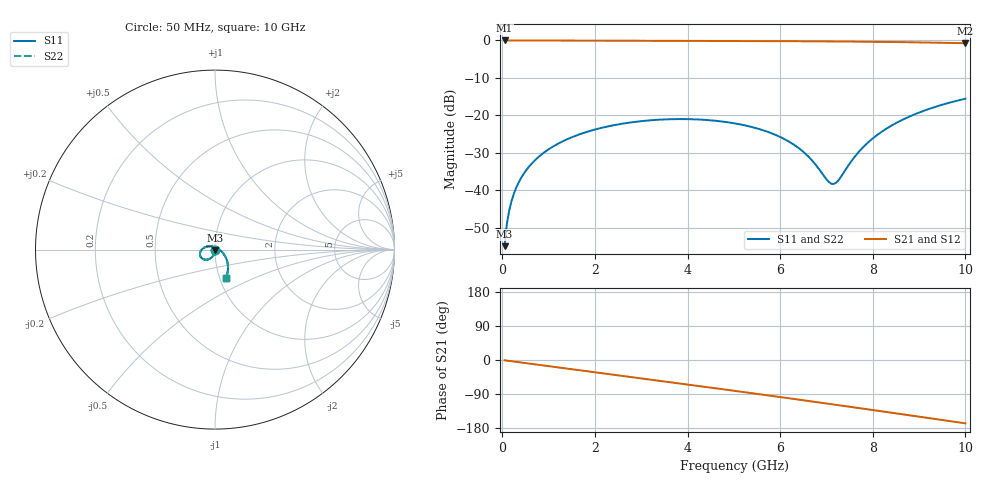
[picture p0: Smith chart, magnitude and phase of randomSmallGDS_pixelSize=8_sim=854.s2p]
! freq	dB(S11)	phase(S11)	dB(S12)	phase(S12)
!  dB(S21)	phase(S21)	dB(S22)	phase(S22)
!S-par simulation data
#  GHz  S  DB  R 50
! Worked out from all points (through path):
!   200 points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, 50 MHz to 10 GHz, reference 50 ohm
!   highest |S21| = 0.00 dB at 50 MHz (marker M1); lowest = -0.7 dB at 10 GHz (marker M2)
!   group delay of S21, straight-line fit = 46.3 ps
!   lowest |S11| = -54.8 dB at 50 MHz (marker M3), VSWR 1.00, Z = 50 - j0.181 ohm
!   |S11| at or under -10 dB: start of sweep to end of sweep
!   |S22| runs from -54.8 to -15.5 dB; largest |S21 - S12| = 0
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0.05  -54.85 -90.2  -0.00 -0.8  -0.00 -0.8  -54.85 -90.2
0.1  -48.83 -91.5  -0.00 -1.7  -0.00 -1.7  -48.83 -91.5
0.15  -45.30 -92.5  -0.01 -2.5  -0.01 -2.5  -45.30 -92.5
0.2  -42.81 -93.4  -0.01 -3.3  -0.01 -3.3  -42.81 -93.4
0.35  -37.95 -96.1  -0.01 -5.7  -0.01 -5.7  -37.95 -96.2
0.5  -34.87 -98.8  -0.01 -8.1  -0.01 -8.1  -34.87 -98.8
0.7  -32.00 -102.2  -0.02 -11.4  -0.02 -11.4  -32.00 -102.2
1  -29.03 -107.2  -0.02 -16.2  -0.02 -16.2  -29.03 -107.2
1.75  -24.68 -119.7  -0.04 -28.3  -0.04 -28.3  -24.68 -119.7
2.5  -22.39 -132.1  -0.07 -40.4  -0.07 -40.4  -22.39 -132.1
3.4  -21.12 -147.1  -0.10 -55.0  -0.10 -55.0  -21.12 -147.1
4.25  -21.08 -161.8  -0.12 -68.8  -0.12 -68.8  -21.08 -161.8
5.05  -22.18 -176.5  -0.15 -81.9  -0.15 -81.9  -22.18 -176.5
6.05  -26.03 161.4  -0.19 -98.6  -0.19 -98.6  -26.03 161.3
6.4  -28.69 150.2  -0.21 -104.5  -0.21 -104.5  -28.69 150.1
6.7  -32.14 134.8  -0.22 -109.6  -0.22 -109.6  -32.14 134.7
7.05  -37.72 88.9  -0.25 -115.6  -0.25 -115.6  -37.70 88.9
7.2  -38.01 51.4  -0.26 -118.2  -0.26 -118.2  -37.99 51.4
7.75  -28.99 -13.7  -0.32 -127.7  -0.32 -127.7  -28.99 -13.7
8.35  -23.10 -34.2  -0.40 -138.2  -0.40 -138.2  -23.10 -34.1
9.1  -18.76 -51.2  -0.53 -151.3  -0.53 -151.3  -18.76 -51.2
10  -15.53 -68.6  -0.74 -167.2  -0.74 -167.2  -15.53 -68.6
